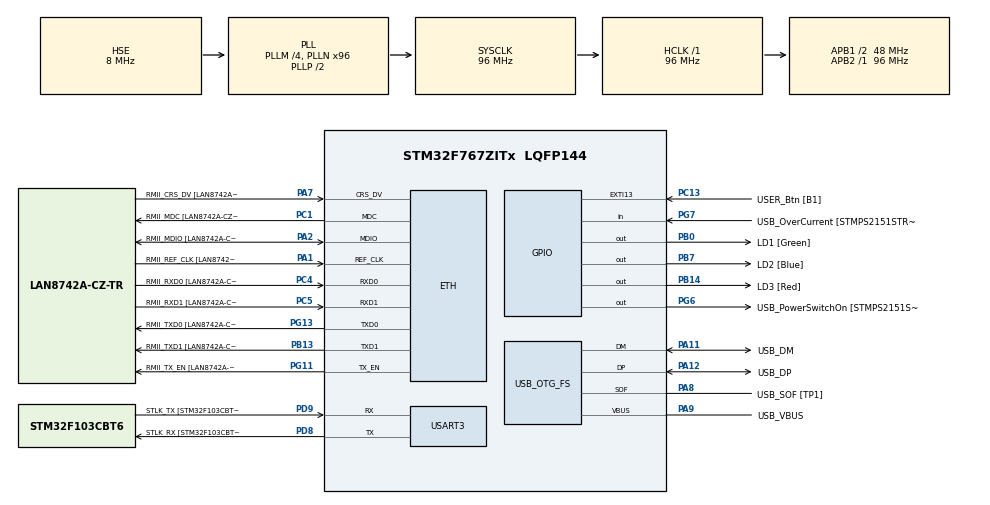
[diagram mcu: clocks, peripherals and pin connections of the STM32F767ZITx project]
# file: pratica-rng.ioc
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CORTEX_M7.default_mode_Activation=1
ETH.MediaInterface=HAL_ETH_RMII_MODE
ETH.PHY_Name=LAN8742A_PHY_ADDRESS
ETH.PHY_Value=0
ETH.PhyAddress=0
Mcu.Family=STM32F7
Mcu.Name=STM32F767ZITx
Mcu.Package=LQFP144
NVIC.PriorityGroup=NVIC_PRIORITYGROUP_4
PA1.GPIO_Label=RMII_REF_CLK [LAN8742A-CZ-TR_REFCLK0]
PA1.Mode=RMII
PA1.Signal=ETH_REF_CLK
PA10.GPIO_Label=USB_ID
PA10.Signal=USB_OTG_FS_ID
PA11.GPIO_Label=USB_DM
PA11.Mode=Device_Only
PA11.Signal=USB_OTG_FS_DM
PA12.GPIO_Label=USB_DP
PA12.Mode=Device_Only
PA12.Signal=USB_OTG_FS_DP
PA13.GPIO_Label=TMS
PA13.Mode=Serial_Wire
PA13.Signal=SYS_JTMS-SWDIO
PA14.GPIO_Label=TCK
PA14.Mode=Serial_Wire
PA14.Signal=SYS_JTCK-SWCLK
PA2.GPIO_Label=RMII_MDIO [LAN8742A-CZ-TR_MDIO]
PA2.Mode=RMII
PA2.Signal=ETH_MDIO
PA7.GPIO_Label=RMII_CRS_DV [LAN8742A-CZ-TR_CRS_DV]
PA7.Mode=RMII
PA7.Signal=ETH_CRS_DV
PA8.GPIO_Label=USB_SOF [TP1]
PA8.Mode=Activate_SOF_FS
PA8.Signal=USB_OTG_FS_SOF
PA9.GPIO_Label=USB_VBUS
PA9.Mode=Activate_VBUS
PA9.Signal=USB_OTG_FS_VBUS
PB0.GPIO_Label=LD1 [Green]
PB0.Signal=GPIO_Output
PB13.GPIO_Label=RMII_TXD1 [LAN8742A-CZ-TR_TXD1]
PB13.Mode=RMII
PB13.Signal=ETH_TXD1
PB14.GPIO_Label=LD3 [Red]
PB14.Signal=GPIO_Output
PB3.GPIO_Label=SWO
PB3.Signal=SYS_JTDO-SWO
PB7.GPIO_Label=LD2 [Blue]
PB7.Signal=GPIO_Output
PC1.GPIO_Label=RMII_MDC [LAN8742A-CZ-TR_MDC]
PC1.Mode=RMII
PC1.Signal=ETH_MDC
PC13.GPIO_Label=USER_Btn [B1]
PC13.Signal=GPXTI13
PC14/OSC32_IN.Mode=LSE-External-Oscillator
PC14/OSC32_IN.Signal=RCC_OSC32_IN
PC15/OSC32_OUT.Mode=LSE-External-Oscillator
PC15/OSC32_OUT.Signal=RCC_OSC32_OUT
PC4.GPIO_Label=RMII_RXD0 [LAN8742A-CZ-TR_RXD0]
PC4.Mode=RMII
PC4.Signal=ETH_RXD0
PC5.GPIO_Label=RMII_RXD1 [LAN8742A-CZ-TR_RXD1]
PC5.Mode=RMII
PC5.Signal=ETH_RXD1
PD8.GPIO_Label=STLK_RX [STM32F103CBT6_PA3]
PD8.Mode=Asynchronous
PD8.Signal=USART3_TX
PD9.GPIO_Label=STLK_TX [STM32F103CBT6_PA2]
PD9.Mode=Asynchronous
PD9.Signal=USART3_RX
PG11.GPIO_Label=RMII_TX_EN [LAN8742A-CZ-TR_TXEN]
PG11.Mode=RMII
PG11.Signal=ETH_TX_EN
PG13.GPIO_Label=RMII_TXD0 [LAN8742A-CZ-TR_TXD0]
PG13.Mode=RMII
PG13.Signal=ETH_TXD0
PG6.GPIO_Label=USB_PowerSwitchOn [STMPS2151STR_EN]
PG6.Signal=GPIO_Output
PG7.GPIO_Label=USB_OverCurrent [STMPS2151STR_FAULT]
PG7.Signal=GPIO_Input
PH0/OSC_IN.GPIO_Label=MCO [STM32F103CBT6_PA8]
PH0/OSC_IN.Mode=HSE-External-Clock-Source
PH0/OSC_IN.Signal=RCC_OSC_IN
PH1/OSC_OUT.Mode=HSE-External-Clock-Source
PH1/OSC_OUT.Signal=RCC_OSC_OUT
ProjectManager.HeapSize=0x200
ProjectManager.StackSize=0x400
ProjectManager.TargetToolchain=STM32CubeIDE
RCC.48MHZClocksFreq_Value=24000000
RCC.AHBFreq_Value=96000000
RCC.APB1CLKDivider=RCC_HCLK_DIV2
RCC.APB1Freq_Value=48000000
RCC.APB1TimFreq_Value=96000000
RCC.APB2Freq_Value=96000000
RCC.APB2TimFreq_Value=96000000
RCC.CortexFreq_Value=96000000
RCC.HCLKFreq_Value=96000000
RCC.HSE_VALUE=8000000
RCC.HSI_VALUE=16000000
RCC.PLLM=4
RCC.PLLMUL=RCC_PLL_MUL9
RCC.PLLN=96
RCC.PLLQ=4
RCC.PRESCALERUSB=RCC_USBCLKSOURCE_PLL_DIV1_5
RCC.SYSCLKFreq_VALUE=96000000
RCC.SYSCLKSource=RCC_SYSCLKSOURCE_PLLCLK
RCC.SYSCLKSourceVirtual=RCC_SYSCLKSOURCE_PLLCLK
RCC.USBFreq_Value=48000000
RCC.VCOOutputFreq_Value=192000000
USART3.VirtualMode-Asynchronous=VM_ASYNC
USB_OTG_FS.VirtualMode=Device_Only
VP_RNG_VS_RNG.Mode=RNG_Activate
board=NUCLEO-F767ZI

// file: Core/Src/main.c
/* USER CODE BEGIN Header */
/**
  ******************************************************************************
  * @file           : main.c
  * @brief          : Main program body
  ******************************************************************************
  * @attention
  *
  * Copyright (c) 2026 STMicroelectronics.
  * All rights reserved.
  *
  * This software is licensed under terms that can be found in the LICENSE file
  * in the root directory of this software component.
  * If no LICENSE file comes with this software, it is provided AS-IS.
  *
  ******************************************************************************
  */
/* USER CODE END Header */
#include "main.h"
#include "string.h"

/* USER CODE BEGIN Includes */
#include <stdio.h>
/* USER CODE END Includes */

/* USER CODE BEGIN PD */
#define ANSI_CLEAR_SCREEN   "\033[2J\033[H"
#define ANSI_CURSOR_HOME    "\033[H"
#define ANSI_CLEAR_LINE     "\r\033[K"
/* USER CODE END PD */

#if defined ( __ICCARM__ ) /*!< IAR Compiler */
#pragma location=0x2007c000
ETH_DMADescTypeDef  DMARxDscrTab[ETH_RX_DESC_CNT]; /* Ethernet Rx DMA Descriptors */
#pragma location=0x2007c0a0
ETH_DMADescTypeDef  DMATxDscrTab[ETH_TX_DESC_CNT]; /* Ethernet Tx DMA Descriptors */

#elif defined ( __CC_ARM )  /* MDK ARM Compiler */

__attribute__((at(0x2007c000))) ETH_DMADescTypeDef  DMARxDscrTab[ETH_RX_DESC_CNT]; /* Ethernet Rx DMA Descriptors */
__attribute__((at(0x2007c0a0))) ETH_DMADescTypeDef  DMATxDscrTab[ETH_TX_DESC_CNT]; /* Ethernet Tx DMA Descriptors */

#elif defined ( __GNUC__ ) /* GNU Compiler */

ETH_DMADescTypeDef DMARxDscrTab[ETH_RX_DESC_CNT] __attribute__((section(".RxDecripSection"))); /* Ethernet Rx DMA Descriptors */
ETH_DMADescTypeDef DMATxDscrTab[ETH_TX_DESC_CNT] __attribute__((section(".TxDecripSection")));   /* Ethernet Tx DMA Descriptors */
#endif

ETH_TxPacketConfig TxConfig;

ETH_HandleTypeDef heth;

RNG_HandleTypeDef hrng;

UART_HandleTypeDef huart3;

PCD_HandleTypeDef hpcd_USB_OTG_FS;

void SystemClock_Config(void);
static void MPU_Config(void);
static void MX_GPIO_Init(void);
static void MX_ETH_Init(void);
static void MX_RNG_Init(void);
static void MX_USART3_UART_Init(void);
static void MX_USB_OTG_FS_PCD_Init(void);

/* USER CODE BEGIN 0 */
void UART_Send(const char *str)
{
  HAL_UART_Transmit(&huart3, (uint8_t *)str, (uint16_t)strlen(str), HAL_MAX_DELAY);
}

static inline uint32_t Dice_From_RNG(uint32_t rng_val)
{
  return (rng_val % 6) + 1;
}

static inline const char* Dice_GetResult(uint32_t machine, uint32_t player)
{
  if (machine > player)
  {
    return "[ Machine ] venceu a rodada!\r\n";
  }
  else if (player > machine)
  {
    return "[ Jogador ] venceu a rodada!\r\n";
  }
  else
  {
    return "Empate!\r\n";
  }
}
/* USER CODE END 0 */

int main(void)
{

  /* USER CODE BEGIN 1 */
  char msg_buf[128];
  uint32_t rand_raw;
  uint32_t dado_machine;
  uint32_t dado_jogador;
  uint32_t vitorias_machine = 0;
  uint32_t vitorias_jogador = 0;
  uint32_t rodada_atual = 1;
  /* USER CODE END 1 */

  /* MPU Configuration--------------------------------------------------------*/
  MPU_Config();

  /* MCU Configuration--------------------------------------------------------*/

  /* Reset of all peripherals, Initializes the Flash interface and the Systick. */
  HAL_Init();

  /* Configure the system clock */
  SystemClock_Config();

  /* Initialize all configured peripherals */
  MX_GPIO_Init();
  MX_ETH_Init();
  MX_RNG_Init();
  MX_USART3_UART_Init();
  MX_USB_OTG_FS_PCD_Init();

  /* Infinite loop */
  while (1)
  {

    /* USER CODE BEGIN 3 */
    /* Limpa a tela e posiciona o cursor no canto superior esquerdo (frame fixo) */
    UART_Send(ANSI_CLEAR_SCREEN);
    UART_Send("========================================\r\n");
    snprintf(msg_buf, sizeof(msg_buf), "        MELHOR DE 3 - RODADA %lu\r\n", (unsigned long)rodada_atual);
    UART_Send(msg_buf);
    snprintf(msg_buf, sizeof(msg_buf), " PLACAR: Machine [ %lu ] x [ %lu ] Jogador\r\n",
             (unsigned long)vitorias_machine, (unsigned long)vitorias_jogador);
    UART_Send(msg_buf);
    UART_Send("========================================\r\n");
    UART_Send("Pressione qualquer tecla para jogar os dados...");

    /* Limpa eventuais flags de overrun e caracteres residuais no buffer RX */
    if (__HAL_UART_GET_FLAG(&huart3, UART_FLAG_ORE))
    {
      __HAL_UART_CLEAR_OREFLAG(&huart3);
    }
    while (__HAL_UART_GET_FLAG(&huart3, UART_FLAG_RXNE))
    {
      (void)huart3.Instance->RDR;
    }

    /* Aguarda qualquer tecla via flag RXNE da USART3 */
    while (!__HAL_UART_GET_FLAG(&huart3, UART_FLAG_RXNE))
    {
      HAL_Delay(10);
    }
    /* Le o caractere recebido para limpar a flag RXNE */
    (void)huart3.Instance->RDR;

    /* Animacao in-place na mesma linha usando retorno de carro e clear line */
    UART_Send(ANSI_CLEAR_LINE);
    UART_Send("Jogando dados");
    for (int i = 0; i < 3; i++)
    {
      HAL_Delay(1000);
      UART_Send(".");
    }
    UART_Send("\r\n\r\n");

    /* Gera o numero do Machine via RNG */
    if (HAL_RNG_GenerateRandomNumber(&hrng, &rand_raw) == HAL_OK)
    {
      dado_machine = Dice_From_RNG(rand_raw);
    }
    else
    {
      dado_machine = 1;
    }

    /* Gera o numero do Jogador via RNG */
    if (HAL_RNG_GenerateRandomNumber(&hrng, &rand_raw) == HAL_OK)
    {
      dado_jogador = Dice_From_RNG(rand_raw);
    }
    else
    {
      dado_jogador = 1;
    }

    /* Exibe os numeros sorteados */
    snprintf(msg_buf, sizeof(msg_buf), "[ Machine ] - %lu\r\n[ Jogador ] - %lu\r\n\r\n", (unsigned long)dado_machine, (unsigned long)dado_jogador);
    UART_Send(msg_buf);

    /* Exibe o resultado da rodada e atualiza contadores */
    UART_Send(Dice_GetResult(dado_machine, dado_jogador));

    if (dado_machine > dado_jogador)
    {
      vitorias_machine++;
      rodada_atual++;
    }
    else if (dado_jogador > dado_machine)
    {
      vitorias_jogador++;
      rodada_atual++;
    }
    else
    {
      UART_Send("Rodada empatada! Disputando novamente...\r\n");
    }

    /* Verifica se houve campeao da Melhor de 3 (primeiro a 2 vitorias) */
    if (vitorias_machine >= 2)
    {
      UART_Send("\r\n****************************************\r\n");
      UART_Send(">>> [ MACHINE ] VENCEU A MELHOR DE 3! <<<\r\n");
      snprintf(msg_buf, sizeof(msg_buf), "Placar final: Machine %lu x %lu Jogador\r\n",
               (unsigned long)vitorias_machine, (unsigned long)vitorias_jogador);
      UART_Send(msg_buf);
      UART_Send("****************************************\r\n");

      /* Reinicia para nova serie */
      vitorias_machine = 0;
      vitorias_jogador = 0;
      rodada_atual = 1;
      UART_Send("\r\nPressione qualquer tecla para iniciar novo jogo...");
    }
    else if (vitorias_jogador >= 2)
    {
      UART_Send("\r\n****************************************\r\n");
      UART_Send(">>> [ JOGADOR ] VENCEU A MELHOR DE 3! <<<\r\n");
      snprintf(msg_buf, sizeof(msg_buf), "Placar final: Machine %lu x %lu Jogador\r\n",
               (unsigned long)vitorias_machine, (unsigned long)vitorias_jogador);
      UART_Send(msg_buf);
      UART_Send("****************************************\r\n");

      /* Reinicia para nova serie */
      vitorias_machine = 0;
      vitorias_jogador = 0;
      rodada_atual = 1;
      UART_Send("\r\nPressione qualquer tecla para iniciar novo jogo...");
    }
    else
    {
      /* Mostra placar parcial da serie */
      snprintf(msg_buf, sizeof(msg_buf), "\r\nPLACAR ATUAL: Machine [ %lu ] x [ %lu ] Jogador\r\n",
               (unsigned long)vitorias_machine, (unsigned long)vitorias_jogador);
      UART_Send(msg_buf);
      UART_Send("\r\nPressione qualquer tecla para a proxima rodada...");
    }

    /* Aguarda a tecla para atualizar para o proximo frame */
    if (__HAL_UART_GET_FLAG(&huart3, UART_FLAG_ORE))
    {
      __HAL_UART_CLEAR_OREFLAG(&huart3);
    }
    while (__HAL_UART_GET_FLAG(&huart3, UART_FLAG_RXNE))
    {
      (void)huart3.Instance->RDR;
    }
    while (!__HAL_UART_GET_FLAG(&huart3, UART_FLAG_RXNE))
    {
      HAL_Delay(10);
    }
    (void)huart3.Instance->RDR;
  }
  /* USER CODE END 3 */
}

void SystemClock_Config(void)
{
  RCC_OscInitTypeDef RCC_OscInitStruct = {0};
  RCC_ClkInitTypeDef RCC_ClkInitStruct = {0};

  /** Configure LSE Drive Capability
  */
  HAL_PWR_EnableBkUpAccess();

  /** Configure the main internal regulator output voltage
  */
  __HAL_RCC_PWR_CLK_ENABLE();
  __HAL_PWR_VOLTAGESCALING_CONFIG(PWR_REGULATOR_VOLTAGE_SCALE3);

  /** Initializes the RCC Oscillators according to the specified parameters
  * in the RCC_OscInitTypeDef structure.
  */
  RCC_OscInitStruct.OscillatorType = RCC_OSCILLATORTYPE_HSE;
  RCC_OscInitStruct.HSEState = RCC_HSE_BYPASS;
  RCC_OscInitStruct.PLL.PLLState = RCC_PLL_ON;
  RCC_OscInitStruct.PLL.PLLSource = RCC_PLLSOURCE_HSE;
  RCC_OscInitStruct.PLL.PLLM = 4;
  RCC_OscInitStruct.PLL.PLLN = 96;
  RCC_OscInitStruct.PLL.PLLP = RCC_PLLP_DIV2;
  RCC_OscInitStruct.PLL.PLLQ = 4;
  RCC_OscInitStruct.PLL.PLLR = 2;
  if (HAL_RCC_OscConfig(&RCC_OscInitStruct) != HAL_OK)
  {
    Error_Handler();
  }

  /** Activate the Over-Drive mode
  */
  if (HAL_PWREx_EnableOverDrive() != HAL_OK)
  {
    Error_Handler();
  }

  /** Initializes the CPU, AHB and APB buses clocks
  */
  RCC_ClkInitStruct.ClockType = RCC_CLOCKTYPE_HCLK|RCC_CLOCKTYPE_SYSCLK
                              |RCC_CLOCKTYPE_PCLK1|RCC_CLOCKTYPE_PCLK2;
  RCC_ClkInitStruct.SYSCLKSource = RCC_SYSCLKSOURCE_PLLCLK;
  RCC_ClkInitStruct.AHBCLKDivider = RCC_SYSCLK_DIV1;
  RCC_ClkInitStruct.APB1CLKDivider = RCC_HCLK_DIV2;
  RCC_ClkInitStruct.APB2CLKDivider = RCC_HCLK_DIV1;

  if (HAL_RCC_ClockConfig(&RCC_ClkInitStruct, FLASH_LATENCY_3) != HAL_OK)
  {
    Error_Handler();
  }
}

static void MX_ETH_Init(void)
{

   static uint8_t MACAddr[6];

  heth.Instance = ETH;
  MACAddr[0] = 0x00;
  MACAddr[1] = 0x80;
  MACAddr[2] = 0xE1;
  MACAddr[3] = 0x00;
  MACAddr[4] = 0x00;
  MACAddr[5] = 0x00;
  heth.Init.MACAddr = &MACAddr[0];
  heth.Init.MediaInterface = HAL_ETH_RMII_MODE;
  heth.Init.TxDesc = DMATxDscrTab;
  heth.Init.RxDesc = DMARxDscrTab;
  heth.Init.RxBuffLen = 1524;

  if (HAL_ETH_Init(&heth) != HAL_OK)
  {
    Error_Handler();
  }

  memset(&TxConfig, 0 , sizeof(ETH_TxPacketConfig));
  TxConfig.Attributes = ETH_TX_PACKETS_FEATURES_CSUM | ETH_TX_PACKETS_FEATURES_CRCPAD;
  TxConfig.ChecksumCtrl = ETH_CHECKSUM_IPHDR_PAYLOAD_INSERT_PHDR_CALC;
  TxConfig.CRCPadCtrl = ETH_CRC_PAD_INSERT;

}

static void MX_RNG_Init(void)
{

  hrng.Instance = RNG;
  if (HAL_RNG_Init(&hrng) != HAL_OK)
  {
    Error_Handler();
  }

}

static void MX_USART3_UART_Init(void)
{

  huart3.Instance = USART3;
  huart3.Init.BaudRate = 115200;
  huart3.Init.WordLength = UART_WORDLENGTH_8B;
  huart3.Init.StopBits = UART_STOPBITS_1;
  huart3.Init.Parity = UART_PARITY_NONE;
  huart3.Init.Mode = UART_MODE_TX_RX;
  huart3.Init.HwFlowCtl = UART_HWCONTROL_NONE;
  huart3.Init.OverSampling = UART_OVERSAMPLING_16;
  huart3.Init.OneBitSampling = UART_ONE_BIT_SAMPLE_DISABLE;
  huart3.AdvancedInit.AdvFeatureInit = UART_ADVFEATURE_NO_INIT;
  if (HAL_UART_Init(&huart3) != HAL_OK)
  {
    Error_Handler();
  }

}

static void MX_USB_OTG_FS_PCD_Init(void)
{

  hpcd_USB_OTG_FS.Instance = USB_OTG_FS;
  hpcd_USB_OTG_FS.Init.dev_endpoints = 6;
  hpcd_USB_OTG_FS.Init.speed = PCD_SPEED_FULL;
  hpcd_USB_OTG_FS.Init.dma_enable = DISABLE;
  hpcd_USB_OTG_FS.Init.phy_itface = PCD_PHY_EMBEDDED;
  hpcd_USB_OTG_FS.Init.Sof_enable = ENABLE;
  hpcd_USB_OTG_FS.Init.low_power_enable = DISABLE;
  hpcd_USB_OTG_FS.Init.lpm_enable = DISABLE;
  hpcd_USB_OTG_FS.Init.vbus_sensing_enable = ENABLE;
  hpcd_USB_OTG_FS.Init.use_dedicated_ep1 = DISABLE;
  if (HAL_PCD_Init(&hpcd_USB_OTG_FS) != HAL_OK)
  {
    Error_Handler();
  }

}

static void MX_GPIO_Init(void)
{
  GPIO_InitTypeDef GPIO_InitStruct = {0};

  /* GPIO Ports Clock Enable */
  __HAL_RCC_GPIOC_CLK_ENABLE();
  __HAL_RCC_GPIOH_CLK_ENABLE();
  __HAL_RCC_GPIOA_CLK_ENABLE();
  __HAL_RCC_GPIOB_CLK_ENABLE();
  __HAL_RCC_GPIOD_CLK_ENABLE();
  __HAL_RCC_GPIOG_CLK_ENABLE();

  /*Configure GPIO pin Output Level */
  HAL_GPIO_WritePin(GPIOB, LD1_Pin|LD3_Pin|LD2_Pin, GPIO_PIN_RESET);

  /*Configure GPIO pin Output Level */
  HAL_GPIO_WritePin(USB_PowerSwitchOn_GPIO_Port, USB_PowerSwitchOn_Pin, GPIO_PIN_RESET);

  /*Configure GPIO pin : USER_Btn_Pin */
  GPIO_InitStruct.Pin = USER_Btn_Pin;
  GPIO_InitStruct.Mode = GPIO_MODE_IT_RISING;
  GPIO_InitStruct.Pull = GPIO_NOPULL;
  HAL_GPIO_Init(USER_Btn_GPIO_Port, &GPIO_InitStruct);

  /*Configure GPIO pins : LD1_Pin LD3_Pin LD2_Pin */
  GPIO_InitStruct.Pin = LD1_Pin|LD3_Pin|LD2_Pin;
  GPIO_InitStruct.Mode = GPIO_MODE_OUTPUT_PP;
  GPIO_InitStruct.Pull = GPIO_NOPULL;
  GPIO_InitStruct.Speed = GPIO_SPEED_FREQ_LOW;
  HAL_GPIO_Init(GPIOB, &GPIO_InitStruct);

  /*Configure GPIO pin : USB_PowerSwitchOn_Pin */
  GPIO_InitStruct.Pin = USB_PowerSwitchOn_Pin;
  GPIO_InitStruct.Mode = GPIO_MODE_OUTPUT_PP;
  GPIO_InitStruct.Pull = GPIO_NOPULL;
  GPIO_InitStruct.Speed = GPIO_SPEED_FREQ_LOW;
  HAL_GPIO_Init(USB_PowerSwitchOn_GPIO_Port, &GPIO_InitStruct);

  /*Configure GPIO pin : USB_OverCurrent_Pin */
  GPIO_InitStruct.Pin = USB_OverCurrent_Pin;
  GPIO_InitStruct.Mode = GPIO_MODE_INPUT;
  GPIO_InitStruct.Pull = GPIO_NOPULL;
  HAL_GPIO_Init(USB_OverCurrent_GPIO_Port, &GPIO_InitStruct);

}

 /* MPU Configuration */

void MPU_Config(void)
{
  MPU_Region_InitTypeDef MPU_InitStruct = {0};

  /* Disables the MPU */
  HAL_MPU_Disable();

  /** Initializes and configures the Region and the memory to be protected
  */
  MPU_InitStruct.Enable = MPU_REGION_ENABLE;
  MPU_InitStruct.Number = MPU_REGION_NUMBER0;
  MPU_InitStruct.BaseAddress = 0x0;
  MPU_InitStruct.Size = MPU_REGION_SIZE_4GB;
  MPU_InitStruct.SubRegionDisable = 0x87;
  MPU_InitStruct.TypeExtField = MPU_TEX_LEVEL0;
  MPU_InitStruct.AccessPermission = MPU_REGION_NO_ACCESS;
  MPU_InitStruct.DisableExec = MPU_INSTRUCTION_ACCESS_DISABLE;
  MPU_InitStruct.IsShareable = MPU_ACCESS_SHAREABLE;
  MPU_InitStruct.IsCacheable = MPU_ACCESS_NOT_CACHEABLE;
  MPU_InitStruct.IsBufferable = MPU_ACCESS_NOT_BUFFERABLE;

  HAL_MPU_ConfigRegion(&MPU_InitStruct);
  /* Enables the MPU */
  HAL_MPU_Enable(MPU_PRIVILEGED_DEFAULT);

}

void Error_Handler(void)
{
  __disable_irq();
  while (1)
  {
  }
}
